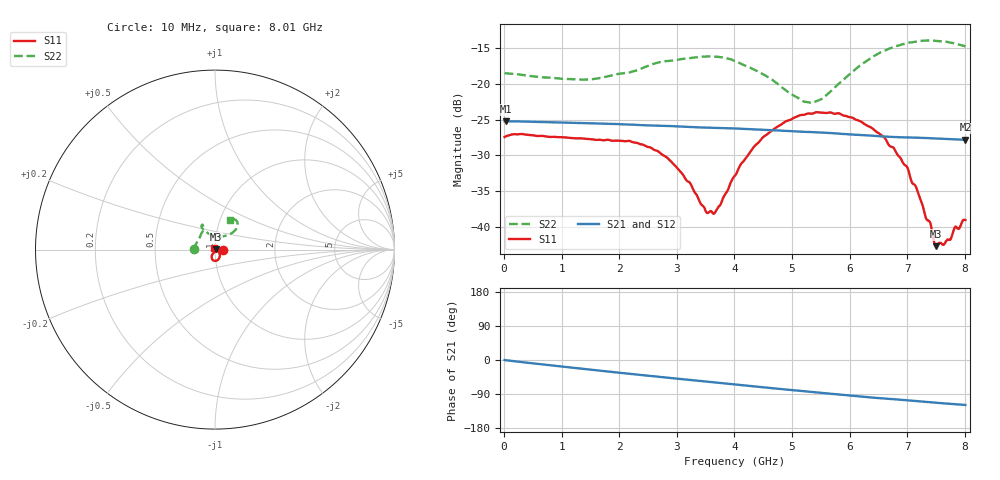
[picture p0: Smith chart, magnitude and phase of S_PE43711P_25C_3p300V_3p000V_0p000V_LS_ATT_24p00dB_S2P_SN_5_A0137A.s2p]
! Device ID: PE43711P
! File Path: z:\PE43711P\CHAR_NOM_04282014\AMB\3p300\LS_ATT_24p00dB\PE43711P_AMB_3p300V_3p000V_0p000V_LS_ATT_24p00dB_S2P_SN_5_A0137A.s2p
! Serial: 5
! Lot: A0137A
! Temp: 25C
! VDD: 3.300
! VSS: 0.000
! Control_Hi: 3.000
! Control_Lo: 0.000
! Attenuation Step: 24.00dB
! Port 1: RF1
! Port 2: RF2
! ThroughPath:1-2
! IDD: 0.0001272133
! ISS: -3.99e-008
#  Hz  S  RI  R  50
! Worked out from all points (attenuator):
!   801 points, 10 MHz to 8.01 GHz, reference 50 ohm
!   highest |S21| = -25.23 dB at 40 MHz (marker M1); lowest = -27.8 dB at 8.01 GHz (marker M2)
!   lowest |S11| = -42.8 dB at 7.5 GHz (marker M3), VSWR 1.01, Z = 50.6 + j0.418 ohm
!   |S11| at or under -10 dB: start of sweep to end of sweep
!   |S22| runs from -22.7 to -13.9 dB; largest |S21 - S12| = 0.00012
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1e7  0.0425 0.000297  0.0548 -0.000208  0.0548 -0.000237  -0.1195 0.000934
4e7  0.0431 0.000356  0.0548 -0.000712  0.0548 -0.000714  -0.1187 0.00259
1.35e9  0.0403 -0.00993  0.049 -0.0208  0.0491 -0.0208  -0.0921 0.055
2.18e9  0.0384 -0.0105  0.0417 -0.0309  0.0418 -0.0309  -0.07 0.0982
2.68e9  0.0326 -0.00802  0.0366 -0.0355  0.0366 -0.0355  -0.066 0.1254
3.07e9  0.023 -0.00725  0.0321 -0.0388  0.0321 -0.0388  -0.0665 0.1337
3.54e9  0.00635 -0.0107  0.0267 -0.0416  0.0267 -0.0416  -0.0719 0.1387
3.68e9  0.00109 -0.0129  0.0251 -0.0424  0.0251 -0.0424  -0.0737 0.1369
4.01e9  -0.00985 -0.0205  0.021 -0.044  0.0209 -0.044  -0.0743 0.1246
4.52e9  -0.0188 -0.0387  0.0145 -0.0455  0.0145 -0.0455  -0.0536 0.1027
4.89e9  -0.0167 -0.052  0.00987 -0.0458  0.00986 -0.0458  -0.0293 0.0853
5.35e9  -0.00569 -0.0617  0.00449 -0.0457  0.00453 -0.0458  0.0132 0.0724
5.55e9  0.00167 -0.0629  0.00213 -0.0455  0.00212 -0.0455  0.0353 0.0723
6.05e9  0.0189 -0.0548  -0.00347 -0.0441  -0.00351 -0.0441  0.0857 0.0868
6.4e9  0.026 -0.0412  -0.00695 -0.0428  -0.00695 -0.0429  0.1119 0.1072
6.68e9  0.0263 -0.0265  -0.00922 -0.0416  -0.00917 -0.0417  0.1226 0.1273
7e9  0.0228 -0.0126  -0.0118 -0.0405  -0.0118 -0.0405  0.1259 0.1468
7.39e9  0.0106 0.00179  -0.0152 -0.0388  -0.0151 -0.0388  0.1148 0.1661
7.5e9  0.00599 0.00413  -0.016 -0.0382  -0.016 -0.0382  0.1092 0.1685
7.73e9  -0.00218 0.00777  -0.0176 -0.0371  -0.0176 -0.0371  0.0964 0.1705
7.83e9  -0.0046 0.00875  -0.0183 -0.0366  -0.0183 -0.0365  0.0913 0.1693
8.01e9  -0.00785 0.00786  -0.0195 -0.0356  -0.0196 -0.0356  0.0834 0.1634
